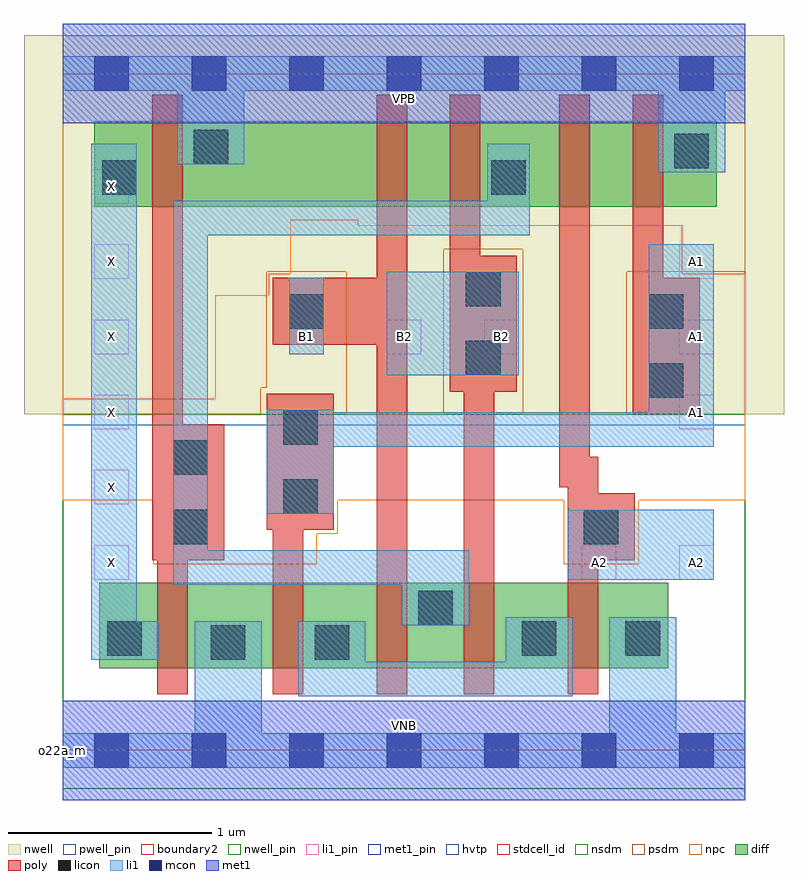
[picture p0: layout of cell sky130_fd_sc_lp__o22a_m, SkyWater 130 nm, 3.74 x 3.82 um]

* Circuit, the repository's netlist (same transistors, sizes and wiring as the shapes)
* Copyright 2020 The SkyWater PDK Authors
*
* Licensed under the Apache License, Version 2.0 (the "License");
* you may not use this file except in compliance with the License.
* You may obtain a copy of the License at
*
*     https://www.apache.org/licenses/LICENSE-2.0
*
* Unless required by applicable law or agreed to in writing, software
* distributed under the License is distributed on an "AS IS" BASIS,
* WITHOUT WARRANTIES OR CONDITIONS OF ANY KIND, either express or implied.
* See the License for the specific language governing permissions and
* limitations under the License.
*
* SPDX-License-Identifier: Apache-2.0

.SUBCKT sky130_fd_sc_lp__o22a_m A1 A2 B1 B2 VGND VNB VPB VPWR X
*.PININFO A1:I A2:I B1:I B2:I VGND:I VNB:I VPB:I VPWR:I X:O
MMPA0 VPWR A1 sndA1 VPB sky130_fd_pr__pfet_01v8_hvt m=1 w=0.42U l=0.15U mult=1
+ sa=0.265 sb=0.265 sd=0.28 area=0.063 perim=1.14
MMPA1 sndA1 A2 y VPB sky130_fd_pr__pfet_01v8_hvt m=1 w=0.42U l=0.15U mult=1 sa=0.265
+ sb=0.265 sd=0.28 area=0.063 perim=1.14
MMPB0 VPWR B1 sndB1 VPB sky130_fd_pr__pfet_01v8_hvt m=1 w=0.42U l=0.15U mult=1
+ sa=0.265 sb=0.265 sd=0.28 area=0.063 perim=1.14
MMPB1 sndB1 B2 y VPB sky130_fd_pr__pfet_01v8_hvt m=1 w=0.42U l=0.15U mult=1 sa=0.265
+ sb=0.265 sd=0.28 area=0.063 perim=1.14
MMIPX X y VPWR VPB sky130_fd_pr__pfet_01v8_hvt m=1 w=0.42U l=0.15U mult=1 sa=0.265
+ sb=0.265 sd=0.28 area=0.063 perim=1.14
MMNA0 pndA A1 VGND VNB sky130_fd_pr__nfet_01v8 m=1 w=0.42U l=0.15U mult=1 sa=0.265
+ sb=0.265 sd=0.28 area=0.063 perim=1.14
MMNA1 pndA A2 VGND VNB sky130_fd_pr__nfet_01v8 m=1 w=0.42U l=0.15U mult=1 sa=0.265
+ sb=0.265 sd=0.28 area=0.063 perim=1.14
MMNB0 y B1 pndA VNB sky130_fd_pr__nfet_01v8 m=1 w=0.42U l=0.15U mult=1 sa=0.265
+ sb=0.265 sd=0.28 area=0.063 perim=1.14
MMNB1 y B2 pndA VNB sky130_fd_pr__nfet_01v8 m=1 w=0.42U l=0.15U mult=1 sa=0.265
+ sb=0.265 sd=0.28 area=0.063 perim=1.14
MMINX X y VGND VNB sky130_fd_pr__nfet_01v8 m=1 w=0.42U l=0.15U mult=1 sa=0.265
+ sb=0.265 sd=0.28 area=0.063 perim=1.14
.ENDS sky130_fd_sc_lp__o22a_m

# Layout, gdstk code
import gdstk
lib = gdstk.Library(unit=1e-6, precision=1e-09)
def R(c, l, rs):  # rectangles x0, y0, x1, y1
    for r in rs: c.add(gdstk.rectangle(r[:2], r[2:], *l))
def A(c, l, x, y, w, h, nx, ny, dx, dy):  # array of equal rectangles
    R(c, l, [(x+i*dx, y+j*dy, x+i*dx+w, y+j*dy+h) for i in range(nx) for j in range(ny)])
def P(c, l, *ps):  # polygons
    for p in ps: c.add(gdstk.Polygon(p, *l))
nwell_pin = (64, 16)
nwell = (64, 20)
diff = (65, 20)
poly = (66, 20)
licon = (66, 44)
li1_pin = (67, 16)
li1 = (67, 20)
mcon = (67, 44)
met1_pin = (68, 16)
met1 = (68, 20)
hvtp = (78, 44)
stdcell_id = (81, 4)
nsdm = (93, 44)
psdm = (94, 20)
npc = (95, 20)
pwell_pin = (122, 16)
boundary2 = (236, 0)

sky130_fd_sc_lp__o22a_m = lib.new_cell('sky130_fd_sc_lp__o22a_m')
R(sky130_fd_sc_lp__o22a_m, nwell_pin, [(0,3.085,3.36,3.33)])
R(sky130_fd_sc_lp__o22a_m, nwell, [(-0.19,1.655,3.55,3.52)])
R(sky130_fd_sc_lp__o22a_m, diff, [(0.18,0.405,2.98,0.825), (0.155,2.675,3.22,3.095)])
P(sky130_fd_sc_lp__o22a_m, poly, [(0.795,1.605),(0.59,1.605),(0.59,3.225),(0.44,3.225),(0.44,0.935),(0.465,0.935),(0.465,0.275),(0.615,0.275),(0.615,0.935),(0.795,0.935)],
  [(1.335,1.755),(1.005,1.755),(1.005,1.085),(1.035,1.085),(1.035,0.275),(1.185,0.275),(1.185,1.085),(1.335,1.085)],
  [(1.695,3.225),(1.545,3.225),(1.545,2.325),(1.035,2.325),(1.035,1.995),(1.545,1.995),(1.545,0.275),(1.695,0.275)],
  [(2.235,2.435),(2.055,2.435),(2.055,3.225),(1.905,3.225),(1.905,1.765),(1.975,1.765),(1.975,0.275),(2.125,0.275),(2.125,1.765),(2.235,1.765)],
  [(2.815,1.265),(2.635,1.265),(2.635,1.445),(2.595,1.445),(2.595,3.225),(2.445,3.225),(2.445,1.295),(2.485,1.295),(2.485,0.275),(2.635,0.275),(2.635,0.935),(2.815,0.935)],
  [(3.135,2.325),(2.955,2.325),(2.955,3.225),(2.805,3.225),(2.805,1.655),(3.135,1.655)])
R(sky130_fd_sc_lp__o22a_m, licon, [(0.73,0.445,0.9,0.615), (1.24,0.445,1.41,0.615), (0.22,0.465,0.39,0.635), (2.26,0.465,2.43,0.635), (2.77,0.465,2.94,0.635), (1.75,0.615,1.92,0.785), (0.545,1.015,0.715,1.185), (2.565,1.015,2.735,1.185), (1.085,1.165,1.255,1.335), (0.545,1.355,0.715,1.525), (1.085,1.505,1.255,1.675), (2.885,1.735,3.055,1.905), (1.985,1.845,2.155,2.015), (1.115,2.075,1.285,2.245), (2.885,2.075,3.055,2.245), (1.985,2.185,2.155,2.355), (0.195,2.735,0.365,2.905), (2.11,2.735,2.28,2.905), (3.01,2.865,3.18,3.035), (0.645,2.885,0.815,3.055)])
A(sky130_fd_sc_lp__o22a_m, li1_pin, 0.155, 0.84, 0.17, 0.17, 1, 6, 0, 0.37)
A(sky130_fd_sc_lp__o22a_m, li1_pin, 3.035, 1.58, 0.17, 0.17, 1, 3, 0, 0.37)
A(sky130_fd_sc_lp__o22a_m, li1_pin, 1.115, 1.95, 0.17, 0.17, 3, 1, 0.48, 0)
R(sky130_fd_sc_lp__o22a_m, li1_pin, [(2.555,0.84,2.725,1.01), (3.035,0.84,3.205,1.01)])
R(sky130_fd_sc_lp__o22a_m, li1, [(2.485,0.84,3.205,1.185), (1.595,1.845,2.245,2.355), (1.115,1.95,1.285,2.325)])
P(sky130_fd_sc_lp__o22a_m, li1, [(0.565,2.885),(0.565,3.245),(0,3.245),(0,3.415),(3.36,3.415),(3.36,3.245),(3.26,3.245),(3.26,2.845),(2.93,2.845),(2.93,3.245),(0.895,3.245),(0.895,2.885)],
  [(0.65,0.085),(0.65,0.635),(0.98,0.635),(0.98,0.085),(2.69,0.085),(2.69,0.655),(3.02,0.655),(3.02,0.085),(3.36,0.085),(3.36,-0.085),(0,-0.085),(0,0.085)],
  [(1.335,1.665),(2.885,1.665),(2.885,2.49),(3.205,2.49),(3.205,1.495),(1.335,1.495),(1.335,1.165),(1.005,1.165),(1.005,1.675),(1.335,1.675)],
  [(0.365,0.635),(0.47,0.635),(0.47,0.445),(0.14,0.445),(0.14,2.985),(0.365,2.985)],
  [(0.715,0.985),(2,0.985),(2,0.615),(1.67,0.615),(1.67,0.815),(0.545,0.815),(0.545,2.705),(2.09,2.705),(2.09,2.985),(2.3,2.985),(2.3,2.535),(0.715,2.535)],
  [(2.18,0.435),(2.18,0.655),(2.51,0.655),(2.51,0.265),(1.16,0.265),(1.16,0.635),(1.49,0.635),(1.49,0.435)])
A(sky130_fd_sc_lp__o22a_m, mcon, 0.155, -0.085, 0.17, 0.17, 7, 2, 0.48, 3.33)
R(sky130_fd_sc_lp__o22a_m, met1_pin, [(0,0,3.36,0.245), (0,3.085,3.36,3.33)])
R(sky130_fd_sc_lp__o22a_m, met1, [(0,-0.245,3.36,0.245), (0,3.085,3.36,3.575)])
R(sky130_fd_sc_lp__o22a_m, hvtp, [(0,1.6,3.36,3.33)])
R(sky130_fd_sc_lp__o22a_m, stdcell_id, [(0,0,3.36,3.33)])
R(sky130_fd_sc_lp__o22a_m, nsdm, [(0,-0.19,3.36,1.655)])
P(sky130_fd_sc_lp__o22a_m, psdm, [(3.36,3.52),(0,3.52),(0,1.655),(0.975,1.655),(0.975,1.785),(1.005,1.785),(1.005,2.355),(1.395,2.355),(1.395,1.655),(1.875,1.655),(1.875,2.465),(2.265,2.465),(2.265,1.655),(2.775,1.655),(2.775,2.355),(3.36,2.355)])
P(sky130_fd_sc_lp__o22a_m, npc, [(3.36,2.345),(3.05,2.345),(3.05,2.585),(1.455,2.585),(1.455,2.61),(1.12,2.61),(1.12,2.345),(1.015,2.345),(1.015,2.24),(0.75,2.24),(0.75,1.73),(0,1.73),(0,1.23),(0.445,1.23),(0.445,0.915),(1.25,0.915),(1.25,1.065),(1.355,1.065),(1.355,1.23),(2.465,1.23),(2.465,0.915),(2.835,0.915),(2.835,1.23),(3.36,1.23)])
R(sky130_fd_sc_lp__o22a_m, pwell_pin, [(0,0,3.36,0.245)])
R(sky130_fd_sc_lp__o22a_m, boundary2, [(0,0,3.36,3.33)])
sky130_fd_sc_lp__o22a_m.add(gdstk.Label('VNB', (1.68,0.123), layer=64, texttype=59))
sky130_fd_sc_lp__o22a_m.add(gdstk.Label('VPB', (1.68,3.208), layer=64, texttype=5))
sky130_fd_sc_lp__o22a_m.add(gdstk.Label('o22a_m', (0,0), layer=83, texttype=44))
sky130_fd_sc_lp__o22a_m.add(gdstk.Label('VPWR', (1.68,3.208), layer=68, texttype=5))
sky130_fd_sc_lp__o22a_m.add(gdstk.Label('VGND', (1.68,0.123), layer=68, texttype=5))
sky130_fd_sc_lp__o22a_m.add(gdstk.Label('A2', (2.64,0.925), layer=67, texttype=5))
sky130_fd_sc_lp__o22a_m.add(gdstk.Label('A2', (3.12,0.925), layer=67, texttype=5))
sky130_fd_sc_lp__o22a_m.add(gdstk.Label('B1', (1.2,2.035), layer=67, texttype=5))
sky130_fd_sc_lp__o22a_m.add(gdstk.Label('B2', (1.68,2.035), layer=67, texttype=5))
sky130_fd_sc_lp__o22a_m.add(gdstk.Label('B2', (2.16,2.035), layer=67, texttype=5))
sky130_fd_sc_lp__o22a_m.add(gdstk.Label('A1', (3.12,1.665), layer=67, texttype=5))
sky130_fd_sc_lp__o22a_m.add(gdstk.Label('A1', (3.12,2.035), layer=67, texttype=5))
sky130_fd_sc_lp__o22a_m.add(gdstk.Label('A1', (3.12,2.405), layer=67, texttype=5))
sky130_fd_sc_lp__o22a_m.add(gdstk.Label('X', (0.24,0.925), layer=67, texttype=5))
sky130_fd_sc_lp__o22a_m.add(gdstk.Label('X', (0.24,1.295), layer=67, texttype=5))
sky130_fd_sc_lp__o22a_m.add(gdstk.Label('X', (0.24,1.665), layer=67, texttype=5))
sky130_fd_sc_lp__o22a_m.add(gdstk.Label('X', (0.24,2.035), layer=67, texttype=5))
sky130_fd_sc_lp__o22a_m.add(gdstk.Label('X', (0.24,2.405), layer=67, texttype=5))
sky130_fd_sc_lp__o22a_m.add(gdstk.Label('X', (0.24,2.775), layer=67, texttype=5))

lib.write_gds('sky130_fd_sc_lp__o22a_m.gds')
